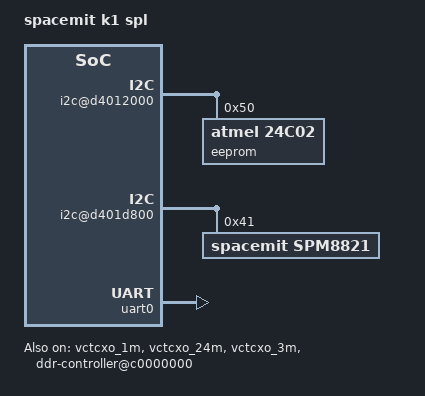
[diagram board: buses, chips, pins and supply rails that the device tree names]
// SPDX-License-Identifier: GPL-2.0-or-later OR MIT
/*
 * Copyright (C) 2023-2026 Spacemit, Inc
 * Copyright (C) 2025-2026 RISCStar Ltd.
 */

/dts-v1/;

#include "k1.dtsi"
#include "k1-spm8821.dtsi"

/ {
	model = "spacemit k1 spl";

	aliases {
		console = &uart0;
		serial0 = &uart0;
	};

	chosen {
		stdout-path = "serial0:115200n8";
		bootph-all;
	};

	binman {
		section {
			filename = "u-boot-spl-ddr.bin";
			pad-byte = <0xff>;
			align-size = <4>;
			align = <4>;

			spl_section: section {
				type = "section";
				size = <CONFIG_SPL_DDR_FIRMWARE_OFFSET>;

				u-boot-spl-nodtb {
					type = "blob";
					filename = "spl/u-boot-spl.bin";
					align-end = <4>;
				};

				u-boot-spl-dtb {
					type = "blob";
				        filename = "spl/u-boot-spl.dtb";
					align-end = <4>;
				};
			};

			ddr_fw: ddr-firmware {
				type = "blob";
				offset = <CONFIG_SPL_DDR_FIRMWARE_OFFSET>;
				filename = "ddr_fw.bin";
				optional;
				align-end = <4>;
			};
		};
	};
};

&vctcxo_1m {
	status = "okay";
	bootph-pre-ram;
};

&vctcxo_24m {
	status = "okay";
	bootph-pre-ram;
};

&vctcxo_3m {
	status = "okay";
	bootph-pre-ram;
};

&osc_32k {
	status = "okay";
	bootph-pre-ram;
};

&soc {
	bootph-all;

	reset-controller@d4050000 {
		status = "okay";
		bootph-pre-ram;
	};
	system-controller@d4050000 {
		status = "okay";
		bootph-pre-ram;
	};
	clock-controller@d4090000 {
		status = "okay";
		bootph-pre-ram;
	};
	system-controller@d4282800 {
		status = "okay";
		bootph-pre-ram;
	};
	system-controller@d4015000 {
		clocks = <&osc_32k>, <&vctcxo_1m>, <&vctcxo_3m>,
			 <&vctcxo_24m>, <&syscon_mpmu CLK_PLL1_31P5>,
			 <&pll CLK_PLL1_D4>;
		clock-names = "osc", "vctcxo_1m", "vctcxo_3m",
			      "vctcxo_24m", "pll1_d78_31p5", "pll1_d4";
		status = "okay";
		bootph-pre-ram;
	};

	i2c@d4012000 {		/* i2c2 */
		status = "okay";
		bootph-pre-ram;
		eeprom: eeprom {
			compatible = "atmel,24c02";
			reg = <0x50>;
			status = "okay";
			bootph-pre-ram;
		};
	};

	i2c@d401d800 {		/* i2c8 */
		status = "okay";
		bootph-pre-ram;
		spm8821: pmic {
			compatible = "spacemit,spm8821";
			reg = <0x41>;
			//bus = <8>;
			status = "okay";
			bootph-pre-ram;

			regulators {
				status = "okay";
				bootph-pre-ram;

				DCDC_REG1 {
					status = "okay";
					bootph-pre-ram;
				};

				DCDC_REG3 {
					status = "okay";
					bootph-pre-ram;
				};

				ALDO_REG1 {
					status = "okay";
					bootph-pre-ram;
				};
			};
		};
	};

	ddr-controller@c0000000 {
		compatible = "spacemit,ddr";
		reg = <0x00000000 0xC0000000 0x00000000 0x00400000>;
		spacemit,data-rate = <0>;
		spacemit,cs-num = <0>;
		spacemit,ddr-type = "\0\0\0\0\0\0\0\0\0\0\0\0\0\0\0\0";
		spacemit,tx-odt = <0>;
		status = "okay";
		bootph-pre-ram;
	};
};

&uart0 {
	status = "okay";
	bootph-pre-ram;
};
